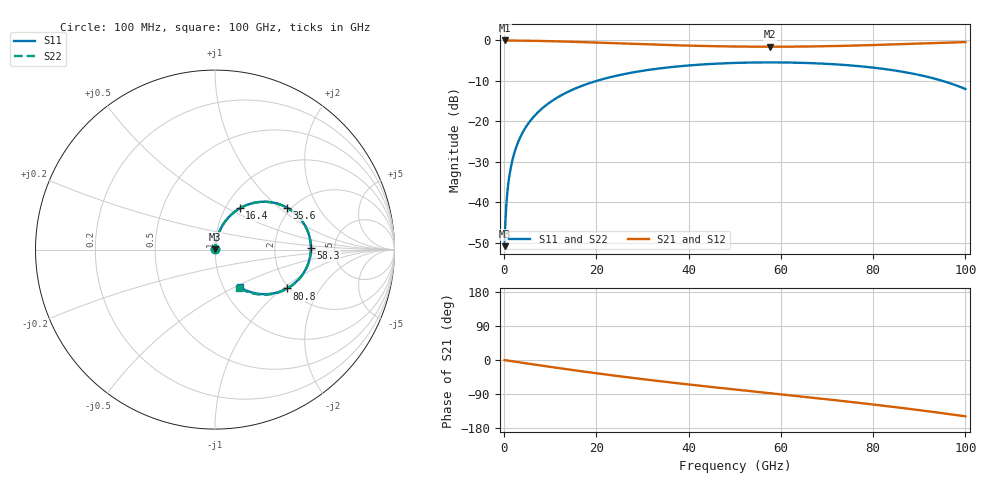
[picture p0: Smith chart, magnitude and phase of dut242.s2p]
! Touchstone file exported from HFSS 2026.1.0
!  File:  C:/ffzhzh/LocalFiles/Ansys_Project_Files/temp_train_RDL_242_1783501364_41296.aedt
!  Generated:  05:03:57 PM Jul  8, 2026
!  Design:  RDL
!  Project:  temp_train_RDL_242_1783501364_41296
! Variables:
!  h_bsmrdl = 2um
!  h_ox = 20um
!  h_rdl = 5um
!  h_sub = 80um
!  h_tmrdl = 4.52um
!  h_tsv = 80um
!  h_via = 3um
!  l_bsmrdl = 300um
!  l_sub = 907.55um
!  l_tmrdl = 507.55um
!  m_sub = 200um
!  pitch = 47.21um
!  r_tsv = 6um
!  s_tmrdl = 10um
!  w_bsmrdl = 18um
!  w_sub = 500um
!  w_tmrdl = 21.37um
!  x_tsv_center1 = 518.235um
!  x_tsv_center2 = 836.235um
!  x_tsv_center3 = 1365.155um
!  x_tsv_center4 = 1683.155um
!  x_tsv_center5 = 2212.075um
!  x_tsv_center6 = 2530.075um
# GHz S MA R 50.000000
! Terminal data exported
! Port[1] = TM_RDL1_1_T1
! Port[2] = TM_RDL1_1_T2
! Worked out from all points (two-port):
!   1000 points, 100 MHz to 100 GHz, reference 50 ohm
!   highest |S21| = -0.02 dB at 100 MHz (marker M1); lowest = -1.6 dB at 57.7 GHz (marker M2)
!   |S21| within 3 dB of the highest: start of sweep to end of sweep
!   lowest |S11| = -50.9 dB at 100 MHz (marker M3), VSWR 1.01, Z = 50.2 + j0.202 ohm
!   |S11| at or under -10 dB: start of sweep to 20.09 GHz; 95.01 GHz to end of sweep
!   |S22| runs from -50.9 to -5.4 dB; largest |S21 - S12| = 1.7e-14
!   S11 on the Smith chart (normalised r, x): 100 MHz: 1.00, +0.00; 16.4 GHz: 1.17, +0.58; 35.6 GHz: 1.89, +1.13; 58.3 GHz: 3.29, +0.08; 80.8 GHz: 1.95, -1.07; 100 GHz: 1.19, -0.53
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0.1  0.002859 44.7  0.998 -0.2  0.998 -0.2  0.002859 44.7
! Gamma 0 0 0 0
! Port Impedance 50 0 50 0
0.8  0.01514 78.9  0.9974 -1.5  0.9974 -1.5  0.01514 78.9
1.1  0.02056 80.6  0.9972 -2.1  0.9972 -2.1  0.02056 80.6
1.4  0.026 81.3  0.9969 -2.6  0.9969 -2.6  0.026 81.3
2.4  0.04407 81.3  0.9958 -4.5  0.9958 -4.5  0.04407 81.3
3.9  0.07073 79.5  0.9934 -7.2  0.9934 -7.2  0.07073 79.4
6  0.1069 76.1  0.9889 -11.0  0.9889 -11.0  0.1069 76.1
8.7  0.1517 71.7  0.9818 -15.9  0.9818 -15.9  0.1517 71.6
12.2  0.2069 65.9  0.9706 -22.0  0.9706 -22.0  0.2069 65.9
16.4  0.2679 59.0  0.9546 -29.1  0.9546 -29.1  0.2679 59.0
16.8  0.2734 58.4  0.953 -29.8  0.953 -29.8  0.2734 58.4
24.2  0.3642 46.8  0.9215 -41.7  0.9215 -41.7  0.3642 46.8
33.4  0.4483 33.4  0.8836 -55.4  0.8836 -55.4  0.4483 33.3
35.6  0.4638 30.4  0.8756 -58.5  0.8756 -58.5  0.4638 30.3
50.1  0.5266 11.3  0.8398 -78.0  0.8398 -78.0  0.5266 11.1
57.7  0.5346 1.7  0.8348 -87.7  0.8348 -87.7  0.5346 1.5
58.3  0.5345 0.9  0.8349 -88.5  0.8349 -88.5  0.5345 0.7
66.7  0.5229 -9.7  0.8418 -99.4  0.8418 -99.4  0.5229 -10.0
80.8  0.4551 -28.4  0.8785 -118.6  0.8785 -118.6  0.4551 -28.9
83.4  0.4352 -32.1  0.888 -122.3  0.888 -122.3  0.4352 -32.6
92.4  0.3473 -45.2  0.9238 -136.1  0.9238 -136.1  0.3472 -46.0
100  0.2505 -56.6  0.9524 -148.6  0.9524 -148.6  0.2503 -57.9
